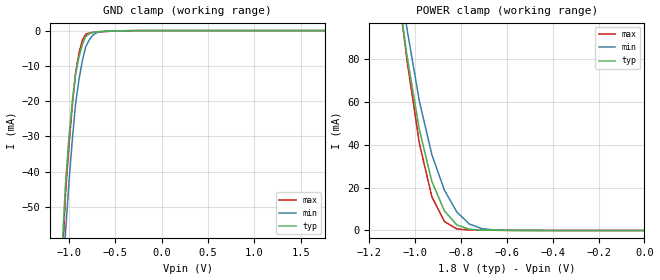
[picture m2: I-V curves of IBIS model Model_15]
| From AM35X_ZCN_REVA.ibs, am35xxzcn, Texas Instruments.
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| Model based on original model for IC1833DVTPBFZP18LL_7LM
|   Sub model PBFZP18LL_7LM_PI_1P8
[model]   Model_15
|[Description]  1.8V-INPUT-PI-X
|[Input Load]   PI
|[Output Drive]
|Voltage   1.8V
|Mode   INPUT
Model_type   Input
Polarity   Non-Inverting
Vinl =  0.63V
Vinh =  1.17V
C_comp   1.254226p   1.200533p   1.264851p
[Model Spec]
Vinl   0.63V   0.567V   0.693V
Vinh   1.17V   1.053V   1.287V
[Temperature Range]   25   125   -40
[Voltage Range]   1.8   1.62   1.98
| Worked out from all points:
|   GND clamp passes 1 mA (typ) near -0.78 V on its own axis
|   POWER clamp passes 1 mA (typ) near -0.78 V on its own axis
[POWER_clamp]
-1.8V     812.4mA    848.7mA    874.6mA
-1.055V   95.91mA    108mA      95.46mA
-1.036V   81.87mA    94.3mA     79.67mA
-1.018V   70.24mA    82.96mA    66.66mA
-981.8mV  46.97mA    60.28mA    40.62mA
-927.3mV  22.83mA    35.31mA    15.72mA
-872.7mV  9.161mA    18.85mA    4.186mA
-818.2mV  2.574mA    8.576mA    711.8uA
-763.6mV  549.3uA    3.016mA    234.2uA
-709.1mV  168.6uA    853.8uA    154.4uA
-654.5mV  89.89uA    236.3uA    110.4uA
0V        17.58nA    52.35nA    29.19nA
[GND_clamp]
-1.8V     -593.4mA   -494.6mA   -853.3mA
-1.073V   -62.13mA   -74.14mA   -68.26mA
-1.036V   -43.76mA   -57.65mA   -46.65mA
-1V       -30.75mA   -43.64mA   -33.1mA
-963.6mV  -20.27mA   -31.35mA   -21.56mA
-927.3mV  -12.32mA   -20.76mA   -12.03mA
-890.9mV  -7.558mA   -13.89mA   -6.391mA
-854.5mV  -4.019mA   -8.509mA   -2.715mA
-818.2mV  -1.706mA   -4.609mA   -1.003mA
-745.5mV  -545.1uA   -1.421mA   -528.1uA
-600mV    -195.8uA   -181.2uA   -256.1uA
1.764V    17.33nA    69.31nA    24.84nA
